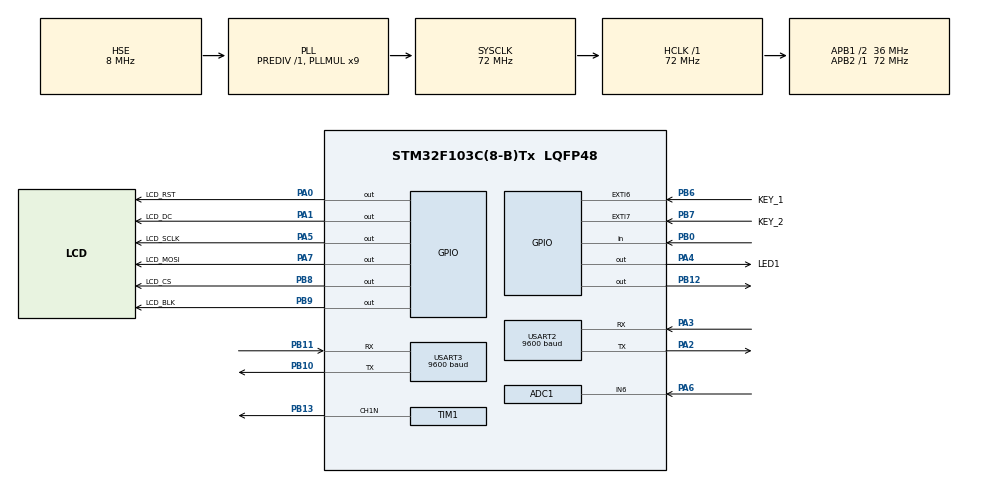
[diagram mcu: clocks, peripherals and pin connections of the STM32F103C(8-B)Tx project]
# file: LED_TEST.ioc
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ADC1.Channel-0\#ChannelRegularConversion=ADC_CHANNEL_6
ADC1.NbrOfConversionFlag=1
ADC1.Rank-0\#ChannelRegularConversion=1
ADC1.SamplingTime-0\#ChannelRegularConversion=ADC_SAMPLETIME_1CYCLE_5
ADC1.master=1
Dma.Request0=TIM1_CH1
Dma.TIM1_CH1.0.Direction=DMA_MEMORY_TO_PERIPH
Dma.TIM1_CH1.0.Instance=DMA1_Channel2
Dma.TIM1_CH1.0.MemDataAlignment=DMA_MDATAALIGN_HALFWORD
Dma.TIM1_CH1.0.MemInc=DMA_MINC_ENABLE
Dma.TIM1_CH1.0.Mode=DMA_CIRCULAR
Dma.TIM1_CH1.0.PeriphDataAlignment=DMA_PDATAALIGN_HALFWORD
Dma.TIM1_CH1.0.PeriphInc=DMA_PINC_DISABLE
Dma.TIM1_CH1.0.Priority=DMA_PRIORITY_HIGH
Mcu.Family=STM32F1
Mcu.Name=STM32F103C(8-B)Tx
Mcu.Package=LQFP48
NVIC.DMA1_Channel2_IRQn=true\:0\:0\:false\:false\:true\:false\:true\:true
NVIC.EXTI9_5_IRQn=true\:0\:0\:false\:false\:true\:true\:true\:true
NVIC.PriorityGroup=NVIC_PRIORITYGROUP_4
PA0-WKUP.GPIO_Label=LCD_RST
PA0-WKUP.Signal=GPIO_Output
PA1.GPIO_Label=LCD_DC
PA1.Signal=GPIO_Output
PA13.Mode=Serial_Wire
PA13.Signal=SYS_JTMS-SWDIO
PA14.Mode=Serial_Wire
PA14.Signal=SYS_JTCK-SWCLK
PA2.Mode=Asynchronous
PA2.Signal=USART2_TX
PA3.Mode=Asynchronous
PA3.Signal=USART2_RX
PA4.GPIO_Label=LED1
PA4.Signal=GPIO_Output
PA5.GPIO_Label=LCD_SCLK
PA5.Signal=GPIO_Output
PA6.Signal=ADCx_IN6
PA7.GPIO_Label=LCD_MOSI
PA7.Signal=GPIO_Output
PB0.GPIO_PuPd=GPIO_PULLUP
PB0.Signal=GPIO_Input
PB10.Mode=Asynchronous
PB10.Signal=USART3_TX
PB11.Mode=Asynchronous
PB11.Signal=USART3_RX
PB12.Signal=GPIO_Output
PB13.Mode=PWM Generation1 CH1N
PB13.Signal=TIM1_CH1N
PB6.GPIO_Label=KEY_1
PB6.GPIO_ModeDefaultEXTI=GPIO_MODE_IT_FALLING
PB6.GPIO_PuPd=GPIO_PULLUP
PB6.Signal=GPXTI6
PB7.GPIO_Label=KEY_2
PB7.GPIO_ModeDefaultEXTI=GPIO_MODE_IT_FALLING
PB7.GPIO_PuPd=GPIO_PULLUP
PB7.Signal=GPXTI7
PB8.GPIO_Label=LCD_CS
PB8.Signal=GPIO_Output
PB9.GPIO_Label=LCD_BLK
PB9.Signal=GPIO_Output
PD0-OSC_IN.Mode=HSE-External-Oscillator
PD0-OSC_IN.Signal=RCC_OSC_IN
PD1-OSC_OUT.Mode=HSE-External-Oscillator
PD1-OSC_OUT.Signal=RCC_OSC_OUT
ProjectManager.HeapSize=0x200
ProjectManager.StackSize=0x400
ProjectManager.TargetToolchain=MDK-ARM V5.32
RCC.ADCPresc=RCC_ADCPCLK2_DIV6
RCC.AHBFreq_Value=72000000
RCC.APB1CLKDivider=RCC_HCLK_DIV2
RCC.APB1Freq_Value=36000000
RCC.APB1TimFreq_Value=72000000
RCC.APB2Freq_Value=72000000
RCC.APB2TimFreq_Value=72000000
RCC.HCLKFreq_Value=72000000
RCC.PLLMUL=RCC_PLL_MUL9
RCC.PLLSourceVirtual=RCC_PLLSOURCE_HSE
RCC.SYSCLKFreq_VALUE=72000000
RCC.SYSCLKSource=RCC_SYSCLKSOURCE_PLLCLK
RCC.USBFreq_Value=72000000
SH.ADCx_IN6.0=ADC1_IN6,IN6
SPI1.BaudRatePrescaler=SPI_BAUDRATEPRESCALER_2
SPI1.CalculateBaudRate=36.0 MBits/s
SPI1.Direction=SPI_DIRECTION_1LINE
SPI1.Mode=SPI_MODE_MASTER
SPI1.VirtualType=VM_MASTER
TIM1.AutoReloadPreload=TIM_AUTORELOAD_PRELOAD_ENABLE
TIM1.Channel-PWM\ Generation1\ CH1N=TIM_CHANNEL_1
TIM1.Period=90-1
USART2.BaudRate=9600
USART2.VirtualMode=VM_ASYNC
USART3.BaudRate=9600
USART3.VirtualMode=VM_ASYNC
board=custom

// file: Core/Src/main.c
/* USER CODE BEGIN Header */
/**
  ******************************************************************************
  * @file           : main.c
  * @brief          : Main program body
  ******************************************************************************
  * @attention
  *
  * Copyright (c) 2026 STMicroelectronics.
  * All rights reserved.
  *
  * This software is licensed under terms that can be found in the LICENSE file
  * in the root directory of this software component.
  * If no LICENSE file comes with this software, it is provided AS-IS.
  *
  ******************************************************************************
  */
/* USER CODE END Header */
#include "main.h"
#include "adc.h"
#include "dma.h"
#include "tim.h"
#include "usart.h"
#include "gpio.h"

/* USER CODE BEGIN Includes */
#include "lcd.h"
#include "ws2812.h"
#include "micphone.h"
#include "buzzer.h"
#include "light.h"
#include "bluetooth.h"
#include <stdio.h>
#include <string.h>
/* USER CODE END Includes */

/* USER CODE BEGIN PTD */
typedef enum {
    MENU_HOME,
    MENU_BRIGHTNESS,
    MENU_VOICE,
    MENU_EXTENDED,
    MENU_COLOR,
    MENU_MUSIC,
    MENU_AUTO_BRIGHTNESS,
    MENU_SOUND_DETECT    // 声音检测模式
} MenuState_t;
/* USER CODE END PTD */

/* USER CODE BEGIN PD */
#define LED_NUM LED_MAX_COUNT // 统一使用驱动层定义，避免数量不一致
/* USER CODE END PD */

/* USER CODE BEGIN PV */
volatile MenuState_t current_menu = MENU_HOME;
volatile uint8_t key1_pressed = 0;
volatile uint8_t key2_pressed = 0;

uint8_t brightness_level = 1; // 1:Dark, 2:Medium, 3:Bright
uint8_t color_index = 0;
uint8_t home_menu_cursor = 0; // 0:Brightness, 1:Extended, 2:Voice
uint8_t extended_menu_cursor = 0; // 0:Color, 1:Music, 2:Auto Brightness, 3:Exit
typedef struct {
    RGB_Color_t rgb;
    const char *name;
} ColorMode_t;

ColorMode_t color_modes[] = {
    {{255, 0, 0}, "RED"},
    {{0, 255, 0}, "GREEN"},
    {{0, 0, 255}, "BLUE"},
    {{255, 255, 0}, "YELLOW"},
    {{255, 0, 255}, "PURPLE"},
    {{0, 255, 255}, "CYAN"},
    {{255, 255, 255}, "WHITE"}
};
#define COLOR_COUNT (sizeof(color_modes)/sizeof(color_modes[0]))

uint32_t last_key_time = 0;

// 麦克风校准结构体
Mic_Calibration_t mic_cal;

// 音乐渐变颜色状态 (定点数，放大256倍)
uint16_t music_hue = 0;        // 当前色相 (0-1535，表示完整色环)
uint8_t music_saturation = 255; // 饱和度
uint8_t music_value = 0;       // 亮度
uint8_t music_cal_initialized = 0; // 音乐模式校准是否已初始化

// 语音模式接收缓冲与状态
uint8_t voice_rx_byte = 0;
char voice_cmd_buf[40];
uint8_t voice_cmd_idx = 0;
uint32_t voice_led_last_toggle = 0;
uint8_t voice_led_blink_state = 0;
uint32_t voice_led_hold_until = 0;
char voice_last_cmd[24] = "None";
/* USER CODE END PV */

void SystemClock_Config(void);
/* USER CODE BEGIN PFP */
void UI_Refresh(void);
void Handle_Keys(void);
void Music_Rhythm_Update(void);
void Auto_Brightness_Update(void);
void Sound_Detect_Update(void);
void Handle_Bluetooth_Commands(void);
void Voice_Mode_Update(void);
void Voice_Process_Command(const char *cmd);
void Voice_LED_Set(uint8_t on);
void HSV_to_RGB(uint16_t h, uint8_t s, uint8_t v, uint8_t *r, uint8_t *g, uint8_t *b);
void Matrix_Set_Pixel(uint8_t row, uint8_t col, uint8_t r, uint8_t g, uint8_t b);
/* USER CODE END PFP */

/* USER CODE BEGIN 0 */
void Voice_LED_Set(uint8_t on) {
    // 语音识别LED: 低电平点亮, 高电平熄灭
    HAL_GPIO_WritePin(LED1_GPIO_Port, LED1_Pin, on ? GPIO_PIN_RESET : GPIO_PIN_SET);
}

/* USER CODE END 0 */

int main(void)
{

  /* MCU Configuration--------------------------------------------------------*/

  /* Reset of all peripherals, Initializes the Flash interface and the Systick. */
  HAL_Init();

  /* Configure the system clock */
  SystemClock_Config();

  /* Initialize all configured peripherals */
  MX_GPIO_Init();
  MX_DMA_Init();
  MX_TIM1_Init();
  MX_USART2_UART_Init();
  MX_USART3_UART_Init();
  MX_ADC1_Init();
  /* USER CODE BEGIN 2 */
  LCD_Init();
  LCD_Clear(BLACK);
  WS2812_Init();
  Micphone_Init();
  Buzzer_Init();
  Light_Init();
  Bluetooth_Init();
  Voice_LED_Set(0);

  UI_Refresh(); // 显示初始界面
  /* USER CODE END 2 */

  /* Infinite loop */
  /* USER CODE BEGIN WHILE */
  while (1)
  {
    Bluetooth_Update();
    Handle_Bluetooth_Commands();
    Handle_Keys();
    Buzzer_Update();

    if (current_menu == MENU_MUSIC) {
        Music_Rhythm_Update();
    } else if (current_menu == MENU_AUTO_BRIGHTNESS) {
        Auto_Brightness_Update();
    } else if (current_menu == MENU_SOUND_DETECT) {
        Sound_Detect_Update();
    } else if (current_menu == MENU_VOICE) {
        Voice_Mode_Update();
    }

    HAL_Delay(10); // 适当延时，减轻CPU负担
    /* USER CODE END WHILE */

  }
}

void SystemClock_Config(void)
{
  RCC_OscInitTypeDef RCC_OscInitStruct = {0};
  RCC_ClkInitTypeDef RCC_ClkInitStruct = {0};
  RCC_PeriphCLKInitTypeDef PeriphClkInit = {0};

  /** Initializes the RCC Oscillators according to the specified parameters
  * in the RCC_OscInitTypeDef structure.
  */
  RCC_OscInitStruct.OscillatorType = RCC_OSCILLATORTYPE_HSE;
  RCC_OscInitStruct.HSEState = RCC_HSE_ON;
  RCC_OscInitStruct.HSEPredivValue = RCC_HSE_PREDIV_DIV1;
  RCC_OscInitStruct.HSIState = RCC_HSI_ON;
  RCC_OscInitStruct.PLL.PLLState = RCC_PLL_ON;
  RCC_OscInitStruct.PLL.PLLSource = RCC_PLLSOURCE_HSE;
  RCC_OscInitStruct.PLL.PLLMUL = RCC_PLL_MUL9;
  if (HAL_RCC_OscConfig(&RCC_OscInitStruct) != HAL_OK)
  {
    Error_Handler();
  }

  /** Initializes the CPU, AHB and APB buses clocks
  */
  RCC_ClkInitStruct.ClockType = RCC_CLOCKTYPE_HCLK|RCC_CLOCKTYPE_SYSCLK
                              |RCC_CLOCKTYPE_PCLK1|RCC_CLOCKTYPE_PCLK2;
  RCC_ClkInitStruct.SYSCLKSource = RCC_SYSCLKSOURCE_PLLCLK;
  RCC_ClkInitStruct.AHBCLKDivider = RCC_SYSCLK_DIV1;
  RCC_ClkInitStruct.APB1CLKDivider = RCC_HCLK_DIV2;
  RCC_ClkInitStruct.APB2CLKDivider = RCC_HCLK_DIV1;

  if (HAL_RCC_ClockConfig(&RCC_ClkInitStruct, FLASH_LATENCY_2) != HAL_OK)
  {
    Error_Handler();
  }
  PeriphClkInit.PeriphClockSelection = RCC_PERIPHCLK_ADC;
  PeriphClkInit.AdcClockSelection = RCC_ADCPCLK2_DIV6;
  if (HAL_RCCEx_PeriphCLKConfig(&PeriphClkInit) != HAL_OK)
  {
    Error_Handler();
  }
}

/* USER CODE BEGIN 4 */
/**
 * @brief 外部中断回调函数，处理按键触发
 */
void HAL_GPIO_EXTI_Callback(uint16_t GPIO_Pin) {
    uint32_t now = HAL_GetTick();
    if (now - last_key_time < 200) { // 200ms 软件消抖
        return;
    }

    if (GPIO_Pin == KEY_1_Pin) {
        key1_pressed = 1;
        last_key_time = now;
    } else if (GPIO_Pin == KEY_2_Pin) {
        key2_pressed = 1;
        last_key_time = now;
    }
}

/**
 * @brief 处理按键逻辑处理与状态跳转
 */
void Handle_Keys(void) {
    uint8_t val;

    if (key1_pressed) {
        key1_pressed = 0;
        Buzzer_Beep_Short(); // 在主循环中安全调用
        switch (current_menu) {
            case MENU_HOME:
                // 主界面: K1用于选择
                home_menu_cursor = (home_menu_cursor + 1) % 3;
                UI_Refresh();
                break;
            case MENU_BRIGHTNESS:
                if (brightness_level < 3) brightness_level++;
                else brightness_level = 1; // 循环切换
                UI_Refresh();
                // 调节WS2812亮度
                val = (brightness_level == 1) ? 30 : (brightness_level == 2 ? 120 : 255);
                WS2812_Set_All(LED_NUM, val, val, val);
                break;
            case MENU_EXTENDED:
                // K1 循环切换拓展功能
                extended_menu_cursor = (extended_menu_cursor + 1) % 4;
                UI_Refresh();
                break;
            case MENU_COLOR:
                color_index = (color_index + 1) % COLOR_COUNT;
                WS2812_Set_All(LED_NUM,
                               color_modes[color_index].rgb.R,
                               color_modes[color_index].rgb.G,
                               color_modes[color_index].rgb.B);
                UI_Refresh();
                break;
            case MENU_MUSIC:
                // 退出音乐模式，重置校准状态
                music_cal_initialized = 0;
                music_hue = 0;
                music_value = 0;
                current_menu = MENU_EXTENDED;
                WS2812_Clear(LED_NUM);
                UI_Refresh();
                break;
            case MENU_AUTO_BRIGHTNESS:
            case MENU_SOUND_DETECT:
                // 在这些模式下，按键1退出到扩展菜单
                current_menu = MENU_EXTENDED;
                WS2812_Clear(LED_NUM);
                UI_Refresh();
                break;
            case MENU_VOICE:
                // 语音模式下按键1返回主菜单
                WS2812_Clear(LED_NUM);
                brightness_level = 1U;
                current_menu = MENU_HOME;
                voice_cmd_idx = 0;
                voice_led_hold_until = 0;
                voice_led_blink_state = 0;
                Voice_LED_Set(0);
                UI_Refresh();
                break;
        }
    }

    if (key2_pressed) {
        key2_pressed = 0;
        Buzzer_Beep_Short(); // 在主循环中安全调用
        switch (current_menu) {
            case MENU_HOME:
                // 主界面: K2确认进入
                if (home_menu_cursor == 0) {
                    current_menu = MENU_BRIGHTNESS;
                    brightness_level = 1U;
                    WS2812_Set_All(LED_NUM, 30U, 30U, 30U);
                } else if (home_menu_cursor == 1) {
                    current_menu = MENU_VOICE;
                    voice_cmd_idx = 0;
                    voice_led_hold_until = 0;
                    voice_led_last_toggle = HAL_GetTick();
                    voice_led_blink_state = 1;
                    Voice_LED_Set(1);
                } else {
                    current_menu = MENU_EXTENDED;
                }
                UI_Refresh();
                break;
            case MENU_BRIGHTNESS:
                WS2812_Clear(LED_NUM);
                brightness_level = 1U;
                current_menu = MENU_HOME;
                UI_Refresh();
                break;
            case MENU_EXTENDED:
                // K2 确认进入模式
                if (extended_menu_cursor == 0) {
                    current_menu = MENU_COLOR;
                    // 进入颜色模式时，立即设置LED为当前颜色
                    WS2812_Set_All(LED_NUM,
                                   color_modes[color_index].rgb.R,
                                   color_modes[color_index].rgb.G,
                                   color_modes[color_index].rgb.B);
                } else if (extended_menu_cursor == 1) {
                    current_menu = MENU_MUSIC;
                } else if (extended_menu_cursor == 2) {
                    current_menu = MENU_AUTO_BRIGHTNESS;
                } else {
                    WS2812_Clear(LED_NUM);
                    brightness_level = 1U;
                    current_menu = MENU_HOME;
                }
                UI_Refresh();
                break;
            case MENU_COLOR:
            case MENU_AUTO_BRIGHTNESS:
            case MENU_SOUND_DETECT:
                // 按键2退出
                current_menu = MENU_EXTENDED;
                WS2812_Clear(LED_NUM);
                UI_Refresh();
                break;
            case MENU_MUSIC:
                // 退出音乐模式，重置校准状态
                music_cal_initialized = 0;
                music_hue = 0;
                music_value = 0;
                current_menu = MENU_EXTENDED;
                WS2812_Clear(LED_NUM);
                UI_Refresh();
                break;
            case MENU_VOICE:
                WS2812_Clear(LED_NUM);
                brightness_level = 1U;
                current_menu = MENU_HOME;
                voice_cmd_idx = 0;
                voice_led_hold_until = 0;
                voice_led_blink_state = 0;
                Voice_LED_Set(0);
                UI_Refresh();
                break;
        }
    }
}

/**
 * @brief 处理蓝牙数字命令（0=退出，1..n=当前界面功能号）
 */
void Handle_Bluetooth_Commands(void) {
    uint8_t cmd;
    uint8_t latest_cmd = 0;
    uint8_t has_cmd = 0;
    uint8_t val;
    char cmd_str[2];

    while (Bluetooth_GetCommand(&cmd)) {
        latest_cmd = cmd;
        has_cmd = 1;
    }

    if (!has_cmd) {
        return;
    }
    cmd = latest_cmd;

    // 0 在任意模式下表示退出当前页面
    if (cmd == 0U) {
        switch (current_menu) {
            case MENU_HOME:
                break;
            case MENU_BRIGHTNESS:
            case MENU_EXTENDED:
                WS2812_Clear(LED_NUM);
                brightness_level = 1U;
                current_menu = MENU_HOME;
                UI_Refresh();
                Buzzer_Beep_Short();
                break;
            case MENU_COLOR:
            case MENU_MUSIC:
            case MENU_AUTO_BRIGHTNESS:
            case MENU_SOUND_DETECT:
                if (current_menu == MENU_MUSIC) {
                    music_cal_initialized = 0;
                    music_hue = 0;
                    music_value = 0;
                }
                current_menu = MENU_EXTENDED;
                WS2812_Clear(LED_NUM);
                UI_Refresh();
                Buzzer_Beep_Short();
                break;
            case MENU_VOICE:
                WS2812_Clear(LED_NUM);
                brightness_level = 1U;
                current_menu = MENU_HOME;
                voice_cmd_idx = 0;
                voice_led_hold_until = 0;
                voice_led_blink_state = 0;
                Voice_LED_Set(0);
                UI_Refresh();
                Buzzer_Beep_Short();
                break;
        }
        return;
    }

    switch (current_menu) {
        case MENU_HOME:
            if (cmd == 1U) {
                current_menu = MENU_BRIGHTNESS;
                brightness_level = 1U;
                val = 30U;
                WS2812_Set_All(LED_NUM, val, val, val);
                UI_Refresh();
                Buzzer_Beep_Short();
            } else if (cmd == 2U) {
                current_menu = MENU_VOICE;
                voice_cmd_idx = 0;
                voice_led_hold_until = 0;
                voice_led_last_toggle = HAL_GetTick();
                voice_led_blink_state = 1;
                Voice_LED_Set(1);
                UI_Refresh();
                Buzzer_Beep_Short();
            } else if (cmd == 3U) {
                current_menu = MENU_EXTENDED;
                UI_Refresh();
                Buzzer_Beep_Short();
            }
            break;

        case MENU_BRIGHTNESS:
            if (cmd >= 1U && cmd <= 3U) {
                brightness_level = cmd;
                UI_Refresh();
                val = (brightness_level == 1U) ? 30U : (brightness_level == 2U ? 120U : 255U);
                WS2812_Set_All(LED_NUM, val, val, val);
                Buzzer_Beep_Short();
            }
            break;

        case MENU_EXTENDED:
            if (cmd == 1U) {
                current_menu = MENU_COLOR;
                WS2812_Set_All(LED_NUM,
                               color_modes[color_index].rgb.R,
                               color_modes[color_index].rgb.G,
                               color_modes[color_index].rgb.B);
                UI_Refresh();
                Buzzer_Beep_Short();
            } else if (cmd == 2U) {
                current_menu = MENU_MUSIC;
                UI_Refresh();
                Buzzer_Beep_Short();
            } else if (cmd == 3U) {
                current_menu = MENU_AUTO_BRIGHTNESS;
                UI_Refresh();
                Buzzer_Beep_Short();
            } else if (cmd == 4U) {
                WS2812_Clear(LED_NUM);
                brightness_level = 1U;
                current_menu = MENU_HOME;
                UI_Refresh();
                Buzzer_Beep_Short();
            }
            break;

        case MENU_COLOR:
            if (cmd >= 1U && cmd <= COLOR_COUNT) {
                color_index = (uint8_t)(cmd - 1U);
                WS2812_Set_All(LED_NUM,
                               color_modes[color_index].rgb.R,
                               color_modes[color_index].rgb.G,
                               color_modes[color_index].rgb.B);
                UI_Refresh();
                Buzzer_Beep_Short();
            }
            break;

        case MENU_VOICE:
            if (cmd >= 1U && cmd <= 5U) {
                cmd_str[0] = (char)('0' + cmd);
                cmd_str[1] = '\0';
                Voice_Process_Command(cmd_str);
                Buzzer_Beep_Short();
            }
            break;

        case MENU_MUSIC:
        case MENU_AUTO_BRIGHTNESS:
        case MENU_SOUND_DETECT:
            // 这些模式当前仅支持 0 退出
            break;
    }
}

/**
 * @brief 刷新LCD界面显示 (适配1.44寸 128x128 屏幕)
 */
void UI_Refresh(void) {
    char buf[32];
    const char* level_str;
    uint8_t bar_end;
    LCD_Clear(BLACK);

    // 绘制顶部标题栏 (简约设计)
    LCD_Fill(0, 0, 127, 20, BLUE);

    switch (current_menu) {
        case MENU_HOME:
            LCD_ShowString(32, 2, (u8*)"MAIN MENU", WHITE, BLUE, 16, 0);

            LCD_ShowString(8, 36, (u8*)"1. Brightness", (home_menu_cursor == 0) ? CYAN : WHITE, BLACK, 16, 0);
            LCD_ShowString(8, 58, (u8*)"2. Voice Ctrl", (home_menu_cursor == 1) ? CYAN : WHITE, BLACK, 16, 0);
            LCD_ShowString(8, 80, (u8*)"3. Extended", (home_menu_cursor == 2) ? CYAN : WHITE, BLACK, 16, 0);

            LCD_DrawLine(0, 105, 127, 105, GRAY);
            LCD_ShowString(10, 110, (u8*)"K1:Sel  K2:Enter", GRAY, BLACK, 12, 0);
            break;

        case MENU_BRIGHTNESS:
            LCD_ShowString(24, 2, (u8*)"BRIGHTNESS", WHITE, BLUE, 16, 0);

            level_str = (brightness_level == 1) ? "DARK" : (brightness_level == 2 ? "MEDIUM" : "BRIGHT");
            sprintf(buf, "Level: %s", level_str);
            LCD_ShowString(20, 50, (u8*)buf, WHITE, BLACK, 16, 0);

            // 简单的进度条
            LCD_DrawLine(20, 80, 108, 80, WHITE);
            bar_end = 20 + (brightness_level * 29);
            LCD_Fill(20, 77, bar_end, 83, CYAN);

            LCD_DrawLine(0, 105, 127, 105, GRAY);
            LCD_ShowString(10, 110, (u8*)"K1:Cycle  K2:Exit", GRAY, BLACK, 12, 0);
            break;

        case MENU_EXTENDED:
            LCD_ShowString(28, 2, (u8*)"EXTENDED", WHITE, BLUE, 16, 0);

            LCD_ShowString(10, 28, (u8*)"1. Color Mode", (extended_menu_cursor == 0) ? CYAN : WHITE, BLACK, 16, 0);
            LCD_ShowString(10, 48, (u8*)"2. Music Mode", (extended_menu_cursor == 1) ? CYAN : WHITE, BLACK, 16, 0);
            LCD_ShowString(10, 68, (u8*)"3. Auto Bright", (extended_menu_cursor == 2) ? CYAN : WHITE, BLACK, 16, 0);
            LCD_ShowString(10, 88, (u8*)"4. Exit", (extended_menu_cursor == 3) ? CYAN : WHITE, BLACK, 16, 0);

            LCD_DrawLine(0, 108, 127, 108, GRAY);
            LCD_ShowString(10, 112, (u8*)"K1:Sel  K2:Enter", GRAY, BLACK, 12, 0);
            break;

        case MENU_COLOR:
            LCD_ShowString(24, 2, (u8*)"COLOR MODE", WHITE, BLUE, 16, 0);

            sprintf(buf, "Index: %d", color_index);
            LCD_ShowString(30, 50, (u8*)buf, WHITE, BLACK, 16, 0);

            // 显示颜色名称
            sprintf(buf, "Color: %s", color_modes[color_index].name);
            LCD_ShowString(20, 80, (u8*)buf, CYAN, BLACK, 16, 0);

            LCD_DrawLine(0, 105, 127, 105, GRAY);
            LCD_ShowString(10, 110, (u8*)"K1:Next  K2:Back", GRAY, BLACK, 12, 0);
            break;

        case MENU_MUSIC:
            LCD_ShowString(16, 2, (u8*)"MUSIC RHYTHM", WHITE, BLUE, 16, 0);
            // 校准和音乐律动的显示由Music_Rhythm_Update动态更新
            break;

        case MENU_AUTO_BRIGHTNESS:
            LCD_ShowString(10, 2, (u8*)"AUTO BRIGHTNESS", WHITE, BLUE, 16, 0);

            LCD_ShowString(10, 25, (u8*)"Auto dim by light", CYAN, BLACK, 12, 0);
            LCD_ShowString(10, 40, (u8*)"Light: ----", WHITE, BLACK, 16, 0);
            LCD_DrawLine(14, 80, 114, 80, GRAY);
            LCD_DrawLine(14, 90, 114, 90, GRAY);
            LCD_DrawLine(14, 80, 14, 90, GRAY);
            LCD_DrawLine(114, 80, 114, 90, GRAY);

            LCD_DrawLine(0, 105, 127, 105, GRAY);
            LCD_ShowString(25, 110, (u8*)"K1 / K2: Exit", GRAY, BLACK, 12, 0);
            break;

        case MENU_SOUND_DETECT:
            LCD_ShowString(10, 2, (u8*)"SOUND DETECT", WHITE, BLUE, 16, 0);
            // 实时显示由Sound_Detect_Update动态更新
            break;
        case MENU_VOICE:
            LCD_ShowString(12, 2, (u8*)"VOICE MODE", WHITE, BLUE, 16, 0);
            LCD_ShowString(6, 30, (u8*)"BT Digit Ctrl On", WHITE, BLACK, 12, 0);
            LCD_ShowString(6, 46, (u8*)"Cmd:1..5 0:Back", CYAN, BLACK, 12, 0);
            LCD_ShowString(6, 68, (u8*)"Last:", CYAN, BLACK, 12, 0);
            LCD_ShowString(42, 68, (u8*)voice_last_cmd, WHITE, BLACK, 12, 0);
            LCD_DrawLine(0, 105, 127, 105, GRAY);
            LCD_ShowString(12, 110, (u8*)"K1/K2: Back", GRAY, BLACK, 12, 0);
            break;
    }
}

/**
 * @brief 语音模式更新（串口轮询接收 + LED状态）
 */
void Voice_Mode_Update(void) {
    uint32_t now = HAL_GetTick();

    // 轮询接收LD3320发来的拼音命令文本（\r\n结尾）
    while (HAL_UART_Receive(&huart2, &voice_rx_byte, 1, 0) == HAL_OK) {
        if (voice_rx_byte == '\r') {
            continue;
        }
        if (voice_rx_byte == '\n') {
            if (voice_cmd_idx > 0) {
                voice_cmd_buf[voice_cmd_idx] = '\0';
                Voice_Process_Command(voice_cmd_buf);
                voice_cmd_idx = 0;
            }
            continue;
        }

        // 仅缓存有效数字字符，避免串口噪声导致屏幕刷屏
        if (voice_rx_byte >= '1' && voice_rx_byte <= '5') {
            if (voice_cmd_idx < (sizeof(voice_cmd_buf) - 1U)) {
                voice_cmd_buf[voice_cmd_idx++] = (char)voice_rx_byte;
            } else {
                voice_cmd_idx = 0;
            }
        }
    }

    // LED指示：命令执行后长亮2s，否则闪烁
    if (now < voice_led_hold_until) {
        Voice_LED_Set(1);
    } else if (now - voice_led_last_toggle >= 300U) {
        voice_led_last_toggle = now;
        voice_led_blink_state = !voice_led_blink_state;
        Voice_LED_Set(voice_led_blink_state);
    }
}

/**
 * @brief 执行语音命令
 */
void Voice_Process_Command(const char *cmd) {
    if (strcmp(cmd, "1") == 0) {
        WS2812_Set_All(LED_NUM, 255, 255, 255);
        strcpy(voice_last_cmd, "1:open");
    } else if (strcmp(cmd, "2") == 0) {
        WS2812_Clear(LED_NUM);
        strcpy(voice_last_cmd, "2:close");
    } else if (strcmp(cmd, "3") == 0) {
        WS2812_Set_All(LED_NUM, 255, 0, 0);
        strcpy(voice_last_cmd, "3:red");
    } else if (strcmp(cmd, "4") == 0) {
        WS2812_Set_All(LED_NUM, 0, 0, 255);
        strcpy(voice_last_cmd, "4:blue");
    } else if (strcmp(cmd, "5") == 0) {
        WS2812_Set_All(LED_NUM, 255, 255, 255);
        strcpy(voice_last_cmd, "5:white");
    } else {
        return;
    }

    // 命令执行时，语音LED长亮2秒
    voice_led_hold_until = HAL_GetTick() + 2000U;
    Voice_LED_Set(1);

    // 局部刷新命令显示区域，避免整屏闪烁
    LCD_Fill(42, 68, 127, 80, BLACK);
    LCD_ShowString(42, 68, (u8*)voice_last_cmd, WHITE, BLACK, 12, 0);
}

/**
 * @brief HSV转RGB颜色空间
 * @param h 色相 (0-1535)
 * @param s 饱和度 (0-255)
 * @param v 亮度 (0-255)
 * @param r 输出红色
 * @param g 输出绿色
 * @param b 输出蓝色
 */
void HSV_to_RGB(uint16_t h, uint8_t s, uint8_t v, uint8_t *r, uint8_t *g, uint8_t *b) {
    uint8_t region = h / 256;
    uint16_t remainder = (h % 256) * 6;

    uint8_t p = (v * (255 - s)) / 256;
    uint8_t q = (v * (255 - (s * remainder) / 1536)) / 256;
    uint8_t t = (v * (255 - (s * (1535 - remainder)) / 1536)) / 256;

    switch (region) {
        case 0:  *r = v; *g = t; *b = p; break;
        case 1:  *r = q; *g = v; *b = p; break;
        case 2:  *r = p; *g = v; *b = t; break;
        case 3:  *r = p; *g = q; *b = v; break;
        case 4:  *r = t; *g = p; *b = v; break;
        default: *r = v; *g = p; *b = q; break;
    }
}

/**
 * @brief 设置8x8矩阵中指定位置的LED颜色
 * @param row 行 (0-7)
 * @param col 列 (0-7)
 * @param r, g, b 颜色值
 */
void Matrix_Set_Pixel(uint8_t row, uint8_t col, uint8_t r, uint8_t g, uint8_t b) {
    if (row >= 8 || col >= 8) return;
    // 同向横行布局：第0行是LED 0-7，第1行是LED 8-15，以此类推
    uint16_t index = row * 8 + col;
    WS2812_Set_Color(index, r, g, b);
}

/**
 * @brief 音乐律动逻辑更新 (12环渐变版本)
 *
 * 算法说明：
 * 1. 进入音乐模式后，先进行环境噪音采集
 *    - 在LCD上显示采集进度和计算过程
 *    - 采集完成后计算均值，乘以1.5作为噪音阈值
 * 2. 校准完成后，使用阈值判断是否触发音乐律动
 *    - ADC值低于阈值时不触发，LED保持微弱亮度
 *    - ADC值高于阈值时触发，根据强度变化颜色
 * 3. 8x8矩阵渐变效果：
 *    - 整个矩阵显示同一渐变颜色
 *    - 颜色根据音乐强度缓慢变化色相
 *    - 使用指数移动平均平滑颜色变化，避免闪烁
 */
void Music_Rhythm_Update(void) {
    static uint32_t last_sample_time = 0;
    static uint32_t last_lcd_update = 0;
    static uint8_t last_bar_length = 0;
    static uint32_t baseline = 0;
    static uint32_t env = 0;
    static uint32_t noise = 0;
    static uint32_t peak = 1;
    static uint8_t last_rows = 0;
    uint32_t now = HAL_GetTick();

    if (now - last_sample_time < 30) return;
    last_sample_time = now;

    uint32_t mic_val = Micphone_GetAverage(4);

    // 初始化校准（只执行一次）
    if (!music_cal_initialized) {
        Mic_Calibration_Init(&mic_cal);
        music_cal_initialized = 1;
        // 清空进度条区域
        LCD_Fill(15, 45, 112, 95, BLACK);
    }

    // 校准阶段
    if (mic_cal.state == MIC_CALIBRATING) {
        Mic_Calibration_Process(&mic_cal, mic_val);

        // 每500ms更新一次LCD显示
        if (now - last_lcd_update >= 500) {
            last_lcd_update = now;

            // 计算当前均值用于显示
            uint32_t current_avg = 0;
            if (mic_cal.count > 0) {
                current_avg = mic_cal.sum / mic_cal.count;
            }

            // 显示校准进度
            char buf[32];
            uint32_t elapsed = now - mic_cal.start_time;
            uint8_t progress = (elapsed * 100) / 5000;
            if (progress > 100) progress = 100;

            LCD_ShowString(10, 45, (u8*)"Calibrating...", WHITE, BLACK, 16, 0);

            sprintf(buf, "Time: %lu.%lus", elapsed / 1000, (elapsed % 1000) / 100);
            LCD_ShowString(10, 65, (u8*)buf, CYAN, BLACK, 16, 0);

            sprintf(buf, "ADC Avg: %lu", current_avg);
            LCD_ShowString(10, 85, (u8*)buf, YELLOW, BLACK, 16, 0);

            // 进度条
            uint8_t bar_width = (progress * 98) / 100;
            LCD_Fill(15, 105, 15 + bar_width, 110, GREEN);
        }

        // 校准完成
        if (mic_cal.state == MIC_CALIBRATED) {
            // 显示校准结果
            char buf[32];
            LCD_Clear(BLACK);

            // 重新绘制标题栏
            LCD_Fill(0, 0, 127, 20, BLUE);
            LCD_ShowString(16, 2, (u8*)"MUSIC RHYTHM", WHITE, BLUE, 16, 0);

            LCD_ShowString(10, 30, (u8*)"Calibration Done!", GREEN, BLACK, 16, 0);

            sprintf(buf, "Noise Avg: %lu", mic_cal.sum / mic_cal.count);
            LCD_ShowString(10, 50, (u8*)buf, WHITE, BLACK, 16, 0);

            sprintf(buf, "Threshold: %lu", mic_cal.noise_threshold);
            LCD_ShowString(10, 70, (u8*)buf, CYAN, BLACK, 16, 0);

            // 绘制进度条边框
            LCD_DrawLine(14, 95, 114, 95, GRAY);
            LCD_DrawLine(14, 105, 114, 105, GRAY);
            LCD_DrawLine(14, 95, 14, 105, GRAY);
            LCD_DrawLine(114, 95, 114, 105, GRAY);

            LCD_DrawLine(0, 115, 127, 115, GRAY);
            LCD_ShowString(25, 118, (u8*)"K1 / K2: Exit", GRAY, BLACK, 12, 0);

            HAL_Delay(1500); // 显示1.5秒

            // 清空进度条区域准备音乐律动显示
            LCD_Fill(15, 96, 113, 104, BLACK);
            last_bar_length = 0;
            baseline = mic_cal.sum / mic_cal.count;
            env = 0;
            noise = 0;
            peak = 1;
            last_rows = 0;
        }

        return;
    }

    // ========== 校准完成后的音乐律动逻辑 ==========

    baseline = (baseline * 252U + mic_val * 4U) / 256U;
    uint32_t diff = (mic_val > baseline) ? (mic_val - baseline) : (baseline - mic_val);

    if (noise == 0) {
        noise = diff + 1U;
    }

    uint32_t threshold = noise * 2.8 + 8;
    if (diff <= threshold) {
        noise = (noise * 252U + diff * 4U) / 256U;
    }

    env = (env * 192U + diff * 64U) / 256U;
    uint32_t signal = (env > threshold) ? (env - threshold) : 0U;

    peak = (peak * 252U) / 256U;
    if (signal > peak) {
        peak = signal;
    }
    if (peak < 8U) {
        peak = 8U;
    }

    uint8_t intensity = (uint8_t)((signal * 255U) / peak);

    music_hue = (uint16_t)((music_hue + 2U + (uint16_t)(intensity / 24U)) % 1536U);

    uint8_t target_value = 10U + (uint8_t)((intensity * 245U) / 255U);
    music_value = (uint8_t)((music_value * 128U + target_value * 128U) / 256U);

    uint8_t r_on, g_on, b_on;
    HSV_to_RGB(music_hue, music_saturation, music_value, &r_on, &g_on, &b_on);

    WS2812_Set_All(12, r_on, g_on, b_on);

    uint8_t bar_length = (uint8_t)((intensity * 98U) / 255U);
    if (bar_length > 98U) bar_length = 98U;

    if (current_menu == MENU_MUSIC) {
        if (bar_length != last_bar_length) {
            if (bar_length > last_bar_length) {
                LCD_Fill(15 + last_bar_length, 96, 15 + bar_length - 1, 104, CYAN);
            } else {
                LCD_Fill(15 + bar_length, 96, 15 + last_bar_length - 1, 104, BLACK);
            }
            last_bar_length = bar_length;
        }
        last_rows = 0;
    }
}

/**
 * @brief 自动亮度更新
 */
void Auto_Brightness_Update(void) {
    static uint32_t last_check_time = 0;
    static uint32_t last_lcd_time = 0;
    static uint8_t last_bar = 255;
    static uint8_t last_led_val = 0xFF;
    static uint32_t light_min = 0;
    static uint32_t light_max = 0;
    static uint32_t light_smooth = 0;
    static uint8_t light_init = 0;
    uint32_t now = HAL_GetTick();

    if (now - last_check_time < 100) return;
    last_check_time = now;

    uint32_t light_adc = Light_GetAverage(8);
    if (light_adc > 4095U) light_adc = 4095U;

    if (!light_init) {
        light_init = 1;
        light_smooth = light_adc;
        light_min = light_adc;
        light_max = light_adc;
    } else {
        light_smooth = (light_smooth * 220U + light_adc * 36U) / 256U;
        if (light_smooth < light_min) light_min = light_smooth;
        if (light_smooth > light_max) light_max = light_smooth;
    }

    uint32_t range = (light_max > light_min) ? (light_max - light_min) : 1U;
    uint8_t light_bar = (uint8_t)(((light_max - light_smooth) * 98U) / range);
    uint8_t led_val = (uint8_t)(10U + ((light_smooth - light_min) * 245U) / range);
    if (led_val < 10U) led_val = 10U;

    if (led_val != last_led_val) {
        last_led_val = led_val;
        WS2812_Set_All(LED_NUM, led_val, led_val, led_val);
    }

    if (current_menu != MENU_AUTO_BRIGHTNESS) {
        return;
    }

    if (now - last_lcd_time < 200U) {
        return;
    }
    last_lcd_time = now;

    char buf[24];
    sprintf(buf, "Light: %lu   ", light_smooth);
    LCD_ShowString(10, 40, (u8*)buf, WHITE, BLACK, 16, 0);

    LCD_DrawLine(14, 80, 114, 80, GRAY);
    LCD_DrawLine(14, 90, 114, 90, GRAY);
    LCD_DrawLine(14, 80, 14, 90, GRAY);
    LCD_DrawLine(114, 80, 114, 90, GRAY);

    if (light_bar != last_bar) {
        if (light_bar > last_bar) {
            LCD_Fill(15 + last_bar, 81, 15 + light_bar, 89, CYAN);
        } else {
            LCD_Fill(15 + light_bar, 81, 113, 89, BLACK);
        }
        last_bar = light_bar;
    }
}

/**
 * @brief 声音检测更新 - 实时显示ADC值
 *
 * 功能说明：
 * 1. 每200ms采样一次ADC值
 * 2. 在LCD上显示：
 *    - 当前ADC值 (0-4095)
 *    - 最大ADC值 (本次会话中的峰值)
 *    - 柱状图进度条 (可视化当前值)
 */
void Sound_Detect_Update(void) {
    static uint32_t last_sample_time = 0;
    static uint32_t max_value = 0;
    static uint32_t last_display_value = 0;
    char buf[32];
    uint32_t now = HAL_GetTick();

    // 每200ms采样一次
    if (now - last_sample_time < 200) return;
    last_sample_time = now;

    // 获取ADC值 (10次采样取平均)
    uint32_t mic_val = Micphone_GetAverage(10);

    // 更新最大值
    if (mic_val > max_value) {
        max_value = mic_val;
    }

    // 只在值变化时更新LCD，减少闪烁
    if (mic_val != last_display_value || max_value == mic_val) {
        last_display_value = mic_val;

        // 显示当前ADC值
        sprintf(buf, "ADC: %lu   ", mic_val);
        LCD_ShowString(10, 30, (u8*)buf, WHITE, BLACK, 16, 0);

        // 显示最大值
        sprintf(buf, "Max: %lu   ", max_value);
        LCD_ShowString(10, 50, (u8*)buf, YELLOW, BLACK, 16, 0);

        // 显示强度等级
        const char* level_str;
        uint16_t level_color;
        if (mic_val < 500) {
            level_str = "Level: Quiet  ";
            level_color = GREEN;
        } else if (mic_val < 1500) {
            level_str = "Level: Low    ";
            level_color = CYAN;
        } else if (mic_val < 2500) {
            level_str = "Level: Medium ";
            level_color = YELLOW;
        } else if (mic_val < 3500) {
            level_str = "Level: High   ";
            level_color = MAGENTA;
        } else {
            level_str = "Level: Very High";
            level_color = RED;
        }
        LCD_ShowString(10, 70, (u8*)level_str, level_color, BLACK, 16, 0);

        // 柱状图进度条 (0-4095 映射到 0-100像素)
        uint8_t bar_length = (mic_val * 100) / 4095;
        if (bar_length > 100) bar_length = 100;

        // 绘制进度条边框
        LCD_DrawLine(13, 90, 115, 90, GRAY);
        LCD_DrawLine(13, 100, 115, 100, GRAY);
        LCD_DrawLine(13, 90, 13, 100, GRAY);
        LCD_DrawLine(115, 90, 115, 100, GRAY);

        // 填充进度条
        if (bar_length > 0) {
            // 根据强度选择颜色
            uint16_t bar_color;
            if (mic_val < 1000) bar_color = GREEN;
            else if (mic_val < 2000) bar_color = CYAN;
            else if (mic_val < 3000) bar_color = YELLOW;
            else bar_color = RED;

            LCD_Fill(14, 91, 14 + bar_length, 99, bar_color);
        }
        // 清除多余部分
        if (bar_length < 100) {
            LCD_Fill(14 + bar_length, 91, 114, 99, BLACK);
        }
    }

    // 显示提示信息 (只绘制一次)
    static uint8_t info_drawn = 0;
    if (!info_drawn) {
        LCD_ShowString(10, 110, (u8*)"K1/K2: Back", GRAY, BLACK, 12, 0);
        info_drawn = 1;
    }
}

/**
 * @brief 重置声音检测状态 (退出时调用)
 */
void Sound_Detect_Reset(void) {
    // 静态变量会在下次进入时自动重置
}
/* USER CODE END 4 */

void Error_Handler(void)
{
  __disable_irq();
  while (1)
  {
  }
}
